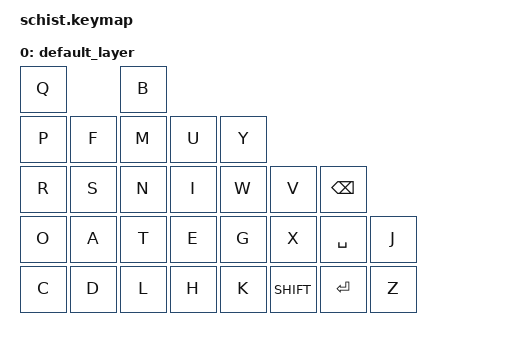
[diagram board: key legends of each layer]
#include <behaviors.dtsi>
#include <dt-bindings/zmk/keys.h>
#include <dt-bindings/zmk/bt.h>

/ {
    keymap {
        compatible = "zmk,keymap";

        default_layer {
            bindings = <
                &kp Q           &kp B 
                &kp P   &kp F   &kp M   &kp U   &kp Y
                &kp R   &kp S   &kp N   &kp I   &kp W   &kp V   &kp BACKSPACE
                &kp O   &kp A   &kp T   &kp E   &kp G   &kp X   &kp SPACE   &kp J
                &kp C   &kp D   &kp L   &kp H   &kp K   &kp SHIFT   &kp ENTER   &kp Z
            >;
        };
    };
};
